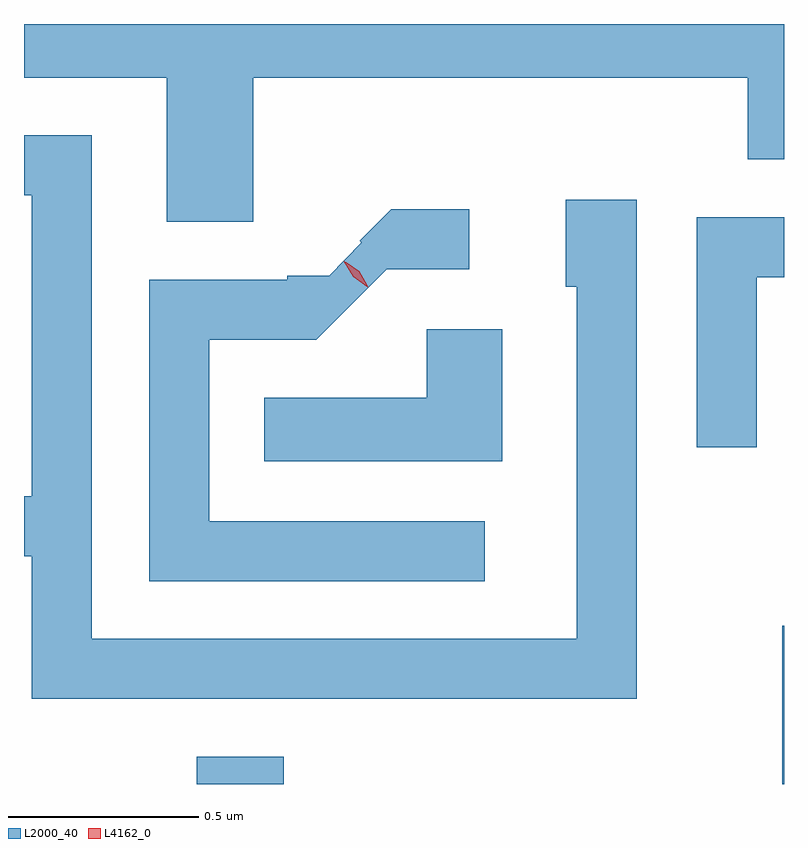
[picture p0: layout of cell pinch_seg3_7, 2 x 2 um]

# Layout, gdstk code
import gdstk
lib = gdstk.Library(unit=1e-6, precision=1e-09)
def R(c, l, rs):  # rectangles x0, y0, x1, y1
    for r in rs: c.add(gdstk.rectangle(r[:2], r[2:], *l))
def P(c, l, *ps):  # polygons
    for p in ps: c.add(gdstk.Polygon(p, *l))
L2000_40 = (2000, 40)
L4162_0 = (4162, 0)

pinch_seg3_7 = lib.new_cell('pinch_seg3_7')
R(pinch_seg3_7, L2000_40, [(825.931,1190.757,826.159,1190.829), (827.471,1190.757,827.476,1191.174)])
P(pinch_seg3_7, L2000_40, [(826.079,1192.616),(827.381,1192.616),(827.381,1192.401),(827.476,1192.401),(827.476,1192.757),(825.476,1192.757),(825.476,1192.616),(825.851,1192.616),(825.851,1192.236),(826.079,1192.236)],
  [(827.089,1192.294),(826.901,1192.294),(826.901,1192.066),(826.931,1192.066),(826.931,1191.139),(825.654,1191.139),(825.654,1192.464),(825.476,1192.464),(825.476,1192.306),(825.496,1192.306),(825.496,1191.514),(825.476,1191.514),(825.476,1191.356),(825.496,1191.356),(825.496,1190.981),(827.089,1190.981)],
  [(826.688,1191.449),(825.964,1191.449),(825.964,1191.926),(826.245,1191.926),(826.431,1192.112),(826.533,1192.112),(826.533,1192.111),(826.648,1192.111),(826.648,1192.269),(826.443,1192.269),(826.36,1192.186),(826.364,1192.181),(826.279,1192.095),(826.169,1192.095),(826.169,1192.084),(825.806,1192.084),(825.806,1191.291),(826.688,1191.291)],
  [(827.404,1192.091),(827.476,1192.091),(827.476,1192.249),(827.246,1192.249),(827.246,1191.643),(827.404,1191.643)],
  [(826.734,1191.954),(826.536,1191.954),(826.536,1191.774),(826.108,1191.774),(826.108,1191.606),(826.734,1191.606)])
P(pinch_seg3_7, L4162_0, [(826.381,1192.064),(826.342,1192.092),(826.318,1192.133),(826.318,1192.133),(826.319,1192.133),(826.357,1192.105),(826.382,1192.064),(826.382,1192.064)],
  [(826.378,1192.069),(826.344,1192.093),(826.323,1192.13),(826.323,1192.13),(826.324,1192.13),(826.358,1192.106),(826.379,1192.07),(826.379,1192.069)])

lib.write_gds('pinch_seg3_7.gds')
